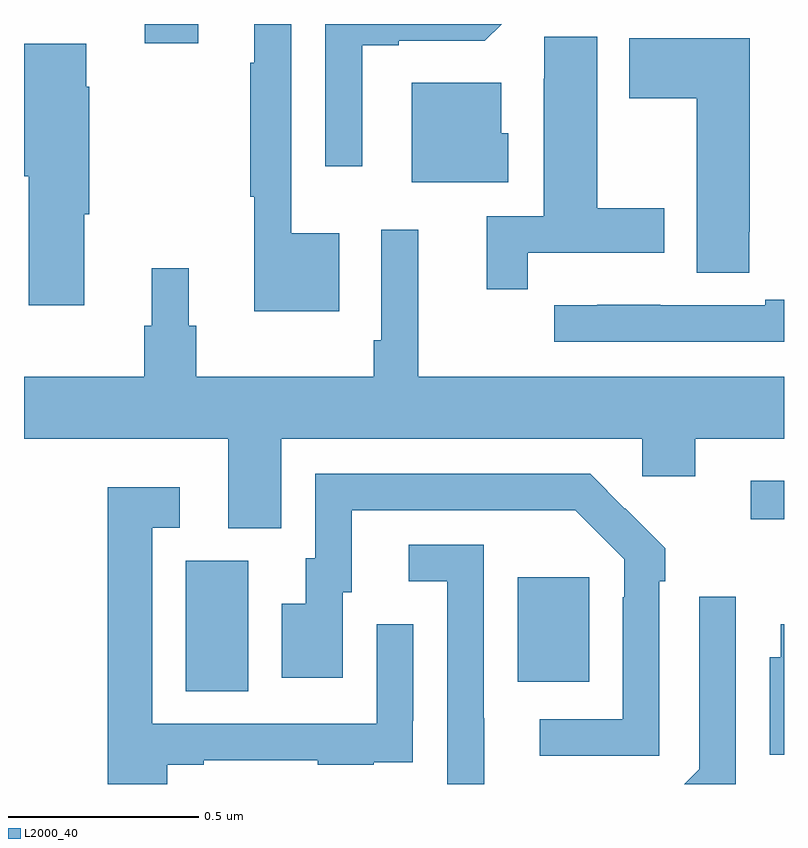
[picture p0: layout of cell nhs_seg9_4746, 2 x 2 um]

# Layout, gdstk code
import gdstk
lib = gdstk.Library(unit=1e-6, precision=1e-09)
def R(c, l, rs):  # rectangles x0, y0, x1, y1
    for r in rs: c.add(gdstk.rectangle(r[:2], r[2:], *l))
def P(c, l, *ps):  # polygons
    for p in ps: c.add(gdstk.Polygon(p, *l))
L2000_40 = (2000, 40)

nhs_seg9_4746 = lib.new_cell('nhs_seg9_4746')
R(nhs_seg9_4746, L2000_40, [(170.426,1207.744,170.59,1208.088), (171.299,1207.769,171.487,1208.044), (171.912,1208.197,172,1208.298), (170.318,1209.45,170.458,1209.5)])
P(nhs_seg9_4746, L2000_40, [(170.83,1208.95),(170.703,1208.95),(170.703,1209.5),(170.606,1209.5),(170.606,1209.398),(170.595,1209.398),(170.595,1209.046),(170.606,1209.046),(170.606,1208.744),(170.83,1208.744)],
  [(170.89,1209.444),(170.986,1209.444),(170.986,1209.456),(171.213,1209.456),(171.257,1209.5),(170.793,1209.5),(170.793,1209.126),(170.89,1209.126)],
  [(171.326,1208.898),(171.685,1208.898),(171.685,1209.015),(171.508,1209.015),(171.508,1209.467),(171.369,1209.467),(171.369,1209.356),(171.368,1209.356),(171.368,1208.994),(171.218,1208.994),(171.218,1208.802),(171.326,1208.802)],
  [(171.909,1208.953),(171.91,1208.953),(171.91,1209.463),(171.593,1209.463),(171.593,1209.304),(171.77,1209.304),(171.77,1208.845),(171.909,1208.845)],
  [(170.158,1208.999),(170.172,1208.999),(170.172,1209.335),(170.164,1209.335),(170.164,1209.448),(170,1209.448),(170,1209.099),(170.012,1209.099),(170.012,1208.76),(170.158,1208.76)],
  [(171.274,1209.213),(171.256,1209.213),(171.256,1209.346),(171.02,1209.346),(171.02,1209.083),(171.274,1209.083)],
  [(170.677,1208.408),(171.627,1208.408),(171.627,1208.31),(171.766,1208.31),(171.766,1208.408),(172,1208.408),(172,1208.572),(171.038,1208.572),(171.038,1208.959),(170.94,1208.959),(170.94,1208.668),(170.92,1208.668),(170.92,1208.572),(170.453,1208.572),(170.453,1208.706),(170.434,1208.706),(170.434,1208.857),(170.336,1208.857),(170.336,1208.706),(170.317,1208.706),(170.317,1208.572),(170,1208.572),(170,1208.408),(170.537,1208.408),(170.537,1208.173),(170.677,1208.173)],
  [(172,1208.775),(171.95,1208.775),(171.95,1208.76),(171.674,1208.76),(171.674,1208.761),(171.508,1208.761),(171.508,1208.76),(171.396,1208.76),(171.396,1208.664),(172,1208.664)],
  [(171.672,1208.033),(171.687,1208.033),(171.687,1208.121),(171.582,1208.226),(171.581,1208.225),(171.49,1208.316),(170.766,1208.316),(170.766,1208.094),(170.741,1208.094),(170.741,1207.975),(170.678,1207.975),(170.678,1207.779),(170.839,1207.779),(170.839,1208.004),(170.863,1208.004),(170.863,1208.22),(171.451,1208.22),(171.579,1208.091),(171.579,1207.991),(171.576,1207.991),(171.576,1207.671),(171.357,1207.671),(171.357,1207.575),(171.672,1207.575)],
  [(170.377,1207.551),(170.473,1207.551),(170.473,1207.563),(170.773,1207.563),(170.773,1207.551),(170.921,1207.551),(170.921,1207.557),(171.023,1207.557),(171.023,1207.666),(171.024,1207.666),(171.024,1207.921),(170.928,1207.921),(170.928,1207.659),(170.337,1207.659),(170.337,1208.175),(170.41,1208.175),(170.41,1208.281),(170.221,1208.281),(170.221,1207.5),(170.377,1207.5)],
  [(171.211,1207.673),(171.21,1207.673),(171.21,1208.13),(171.012,1208.13),(171.012,1208.034),(171.114,1208.034),(171.114,1207.5),(171.211,1207.5)],
  [(171.873,1207.993),(171.777,1207.993),(171.777,1207.539),(171.738,1207.5),(171.873,1207.5)],
  [(172,1207.921),(171.992,1207.921),(171.992,1207.834),(171.962,1207.834),(171.962,1207.577),(172,1207.577)])

lib.write_gds('nhs_seg9_4746.gds')
